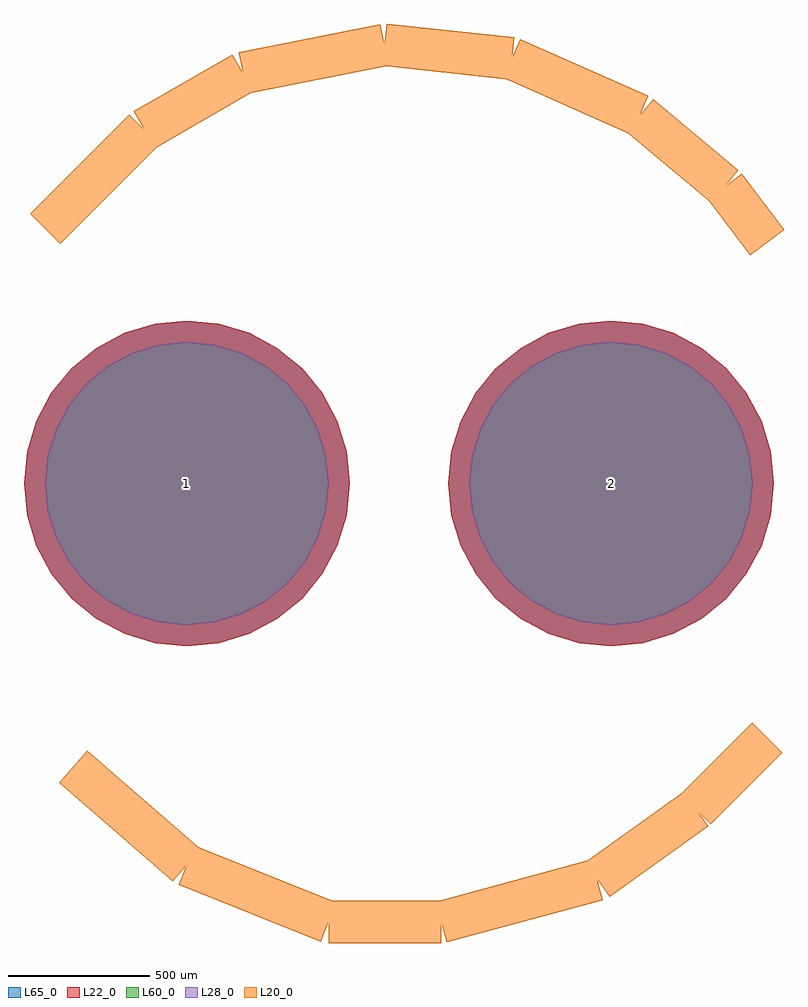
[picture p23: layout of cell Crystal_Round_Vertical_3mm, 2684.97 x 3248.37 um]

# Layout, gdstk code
import gdstk
lib = gdstk.Library(unit=1e-6, precision=1e-09)
def P(c, l, *ps):  # polygons
    for p in ps: c.add(gdstk.Polygon(p, *l))
L20_0 = (20, 0)
L22_0 = (22, 0)
L28_0 = (28, 0)
L60_0 = (60, 0)
L65_0 = (65, 0)

crystal_round_vertical_3 = lib.new_cell('Crystal_Round_Vertical_3mm')
P(crystal_round_vertical_3, L22_0, [(1324.68,0),(1313.624,112.251),(1280.882,220.188),(1227.711,319.664),(1156.155,406.855),(1068.964,478.411),(969.488,531.582),(861.551,564.324),(749.3,575.38),(637.049,564.324),(529.112,531.582),(429.636,478.411),(342.445,406.855),(270.889,319.664),(217.718,220.188),(184.976,112.251),(173.92,0),(184.976,-112.251),(217.718,-220.188),(270.889,-319.664),(342.445,-406.855),(429.636,-478.411),(529.112,-531.582),(637.049,-564.324),(749.3,-575.38),(861.551,-564.324),(969.488,-531.582),(1068.964,-478.411),(1156.155,-406.855),(1227.711,-319.664),(1280.882,-220.188),(1313.624,-112.251)],
  [(-173.92,0),(-184.976,112.251),(-217.718,220.188),(-270.889,319.664),(-342.445,406.855),(-429.636,478.411),(-529.112,531.582),(-637.049,564.324),(-749.3,575.38),(-861.551,564.324),(-969.488,531.582),(-1068.964,478.411),(-1156.155,406.855),(-1227.711,319.664),(-1280.882,220.188),(-1313.624,112.251),(-1324.68,0),(-1313.624,-112.251),(-1280.882,-220.188),(-1227.711,-319.664),(-1156.155,-406.855),(-1068.964,-478.411),(-969.488,-531.582),(-861.551,-564.324),(-749.3,-575.38),(-637.049,-564.324),(-529.112,-531.582),(-429.636,-478.411),(-342.445,-406.855),(-270.889,-319.664),(-217.718,-220.188),(-184.976,-112.251)])
P(crystal_round_vertical_3, L28_0, [(1249.68,0),(1240.065,97.619),(1211.591,191.487),(1165.351,277.996),(1103.122,353.822),(1027.296,416.051),(940.787,462.291),(846.919,490.765),(749.3,500.38),(651.681,490.765),(557.813,462.291),(471.304,416.051),(395.478,353.822),(333.249,277.996),(287.009,191.487),(258.535,97.619),(248.92,0),(258.535,-97.619),(287.009,-191.487),(333.249,-277.996),(395.478,-353.822),(471.304,-416.051),(557.813,-462.291),(651.681,-490.765),(749.3,-500.38),(846.919,-490.765),(940.787,-462.291),(1027.296,-416.051),(1103.122,-353.822),(1165.351,-277.996),(1211.591,-191.487),(1240.065,-97.619)],
  [(-248.92,0),(-258.535,97.619),(-287.009,191.487),(-333.249,277.996),(-395.478,353.822),(-471.304,416.051),(-557.813,462.291),(-651.681,490.765),(-749.3,500.38),(-846.919,490.765),(-940.787,462.291),(-1027.296,416.051),(-1103.122,353.822),(-1165.351,277.996),(-1211.591,191.487),(-1240.065,97.619),(-1249.68,0),(-1240.065,-97.619),(-1211.591,-191.487),(-1165.351,-277.996),(-1103.122,-353.822),(-1027.296,-416.051),(-940.787,-462.291),(-846.919,-490.765),(-749.3,-500.38),(-651.681,-490.765),(-557.813,-462.291),(-471.304,-416.051),(-395.478,-353.822),(-333.249,-277.996),(-287.009,-191.487),(-258.535,-97.619)])
P(crystal_round_vertical_3, L60_0, [(1249.68,0),(1240.065,97.619),(1211.591,191.487),(1165.351,277.996),(1103.122,353.822),(1027.296,416.051),(940.787,462.291),(846.919,490.765),(749.3,500.38),(651.681,490.765),(557.813,462.291),(471.304,416.051),(395.478,353.822),(333.249,277.996),(287.009,191.487),(258.535,97.619),(248.92,0),(258.535,-97.619),(287.009,-191.487),(333.249,-277.996),(395.478,-353.822),(471.304,-416.051),(557.813,-462.291),(651.681,-490.765),(749.3,-500.38),(846.919,-490.765),(940.787,-462.291),(1027.296,-416.051),(1103.122,-353.822),(1165.351,-277.996),(1211.591,-191.487),(1240.065,-97.619)],
  [(-248.92,0),(-258.535,97.619),(-287.009,191.487),(-333.249,277.996),(-395.478,353.822),(-471.304,416.051),(-557.813,462.291),(-651.681,490.765),(-749.3,500.38),(-846.919,490.765),(-940.787,462.291),(-1027.296,416.051),(-1103.122,353.822),(-1165.351,277.996),(-1211.591,191.487),(-1240.065,97.619),(-1249.68,0),(-1240.065,-97.619),(-1211.591,-191.487),(-1165.351,-277.996),(-1103.122,-353.822),(-1027.296,-416.051),(-940.787,-462.291),(-846.919,-490.765),(-749.3,-500.38),(-651.681,-490.765),(-557.813,-462.291),(-471.304,-416.051),(-395.478,-353.822),(-333.249,-277.996),(-287.009,-191.487),(-258.535,-97.619)])
P(crystal_round_vertical_3, L65_0, [(1324.68,0),(1313.624,112.251),(1280.882,220.188),(1227.711,319.664),(1156.155,406.855),(1068.964,478.411),(969.488,531.582),(861.551,564.324),(749.3,575.38),(637.049,564.324),(529.112,531.582),(429.636,478.411),(342.445,406.855),(270.889,319.664),(217.718,220.188),(184.976,112.251),(173.92,0),(184.976,-112.251),(217.718,-220.188),(270.889,-319.664),(342.445,-406.855),(429.636,-478.411),(529.112,-531.582),(637.049,-564.324),(749.3,-575.38),(861.551,-564.324),(969.488,-531.582),(1068.964,-478.411),(1156.155,-406.855),(1227.711,-319.664),(1280.882,-220.188),(1313.624,-112.251)],
  [(-173.92,0),(-184.976,112.251),(-217.718,220.188),(-270.889,319.664),(-342.445,406.855),(-429.636,478.411),(-529.112,531.582),(-637.049,564.324),(-749.3,575.38),(-861.551,564.324),(-969.488,531.582),(-1068.964,478.411),(-1156.155,406.855),(-1227.711,319.664),(-1280.882,220.188),(-1313.624,112.251),(-1324.68,0),(-1313.624,-112.251),(-1280.882,-220.188),(-1227.711,-319.664),(-1156.155,-406.855),(-1068.964,-478.411),(-969.488,-531.582),(-861.551,-564.324),(-749.3,-575.38),(-637.049,-564.324),(-529.112,-531.582),(-429.636,-478.411),(-342.445,-406.855),(-270.889,-319.664),(-217.718,-220.188),(-184.976,-112.251)])
crystal_round_vertical_3.add(gdstk.FlexPath([(-899.16,1249.68),(-1249.68,899.16)], 149.998, ends="flush", simple_path=True, layer=20, datatype=0))  # L20_0
crystal_round_vertical_3.add(gdstk.FlexPath([(-551.18,1450.34),(-899.16,1249.68)], 149.998, ends="flush", simple_path=True, layer=20, datatype=0))  # L20_0
crystal_round_vertical_3.add(gdstk.FlexPath([(-50.8,1549.4),(-551.18,1450.34)], 149.998, ends="flush", simple_path=True, layer=20, datatype=0))  # L20_0
crystal_round_vertical_3.add(gdstk.FlexPath([(398.78,1501.14),(-50.8,1549.4)], 149.998, ends="flush", simple_path=True, layer=20, datatype=0))  # L20_0
crystal_round_vertical_3.add(gdstk.FlexPath([(850.9,1300.48),(398.78,1501.14)], 149.998, ends="flush", simple_path=True, layer=20, datatype=0))  # L20_0
crystal_round_vertical_3.add(gdstk.FlexPath([(1150.62,1049.02),(850.9,1300.48)], 149.998, ends="flush", simple_path=True, layer=20, datatype=0))  # L20_0
crystal_round_vertical_3.add(gdstk.FlexPath([(1300.48,850.9),(1150.62,1049.02)], 149.998, ends="flush", simple_path=True, layer=20, datatype=0))  # L20_0
crystal_round_vertical_3.add(gdstk.FlexPath([(-749.3,-1348.74),(-1150.62,-1000.76)], 149.998, ends="flush", simple_path=True, layer=20, datatype=0))  # L20_0
crystal_round_vertical_3.add(gdstk.FlexPath([(-248.92,-1549.4),(-749.3,-1348.74)], 149.998, ends="flush", simple_path=True, layer=20, datatype=0))  # L20_0
crystal_round_vertical_3.add(gdstk.FlexPath([(149.86,-1549.4),(-248.92,-1549.4)], 149.998, ends="flush", simple_path=True, layer=20, datatype=0))  # L20_0
crystal_round_vertical_3.add(gdstk.FlexPath([(701.04,-1399.54),(149.86,-1549.4)], 149.998, ends="flush", simple_path=True, layer=20, datatype=0))  # L20_0
crystal_round_vertical_3.add(gdstk.FlexPath([(1049.02,-1150.62),(701.04,-1399.54)], 149.998, ends="flush", simple_path=True, layer=20, datatype=0))  # L20_0
crystal_round_vertical_3.add(gdstk.FlexPath([(1300.48,-899.16),(1049.02,-1150.62)], 149.998, ends="flush", simple_path=True, layer=20, datatype=0))  # L20_0
crystal_round_vertical_3.add(gdstk.Label('2', (749.3,0), layer=28, texttype=0))
crystal_round_vertical_3.add(gdstk.Label('1', (-749.3,0), layer=28, texttype=0))
crystal_round_vertical_3.add(gdstk.Label('type', (0,-3810), layer=9, texttype=0))
crystal_round_vertical_3.add(gdstk.Label('devicename', (0,3810), layer=9, texttype=0))

lib.write_gds('Crystal_Round_Vertical_3mm.gds')
